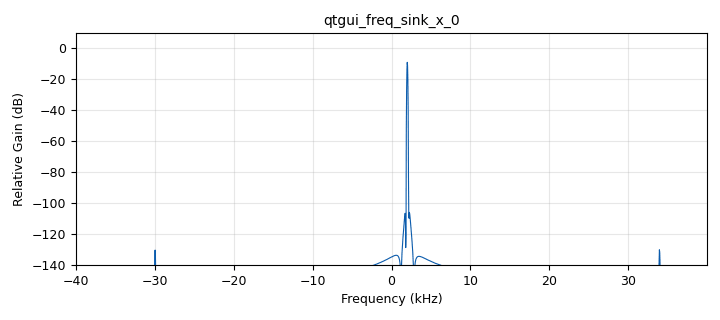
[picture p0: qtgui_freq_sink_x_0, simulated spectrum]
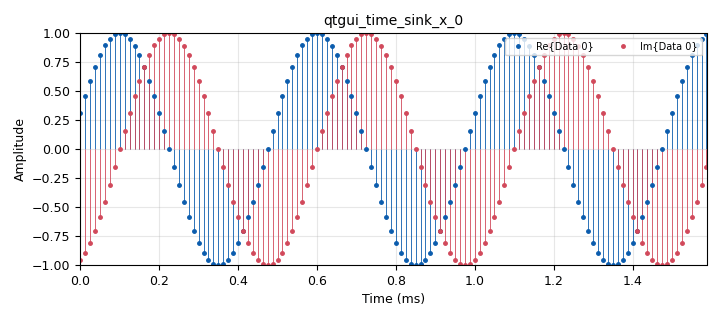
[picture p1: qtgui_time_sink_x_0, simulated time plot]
options:
  parameters:
    author: Ronald_Paez_Leidy_Escobar_B1A_G3
    generate_options: qt_gui
    id: untitled
    output_language: python
    title: Lab_1_Parte_2
  states: {}

blocks:
- name: freq
  id: variable_qtgui_range
  parameters:
    label: frequency
    orient: Qt.Horizontal
    start: '1000'
    step: '1000'
    stop: '40000'
    value: '2000'
  states: {}
- name: samp_rate
  id: variable_qtgui_range
  parameters:
    label: frecuencia de muestreo
    orient: Qt.Horizontal
    start: '1000'
    step: '1000'
    stop: '80000'
    value: '80000'
  states: {}
- name: analog_sig_source_x_0
  id: analog_sig_source_x
  parameters:
    amp: '1'
    freq: freq
    offset: '0'
    phase: '0'
    samp_rate: samp_rate
    type: complex
    waveform: analog.GR_SIN_WAVE
  states: {}
- name: blocks_throttle_0
  id: blocks_throttle
  parameters:
    samples_per_second: samp_rate
    type: complex
  states: {}
- name: qtgui_freq_sink_x_0
  id: qtgui_freq_sink_x
  parameters:
    bw: samp_rate
    fc: '0'
    fftsize: '2048'
    type: complex
    wintype: firdes.WIN_BLACKMAN_hARRIS
  states: {}
- name: qtgui_time_sink_x_0
  id: qtgui_time_sink_x
  parameters:
    size: '128'
    srate: samp_rate
    stemplot: 'True'
    type: complex
  states: {}

connections:
- [analog_sig_source_x_0, '0', blocks_throttle_0, '0']
- [blocks_throttle_0, '0', qtgui_freq_sink_x_0, '0']
- [blocks_throttle_0, '0', qtgui_time_sink_x_0, '0']

metadata:
  file_format: 1
